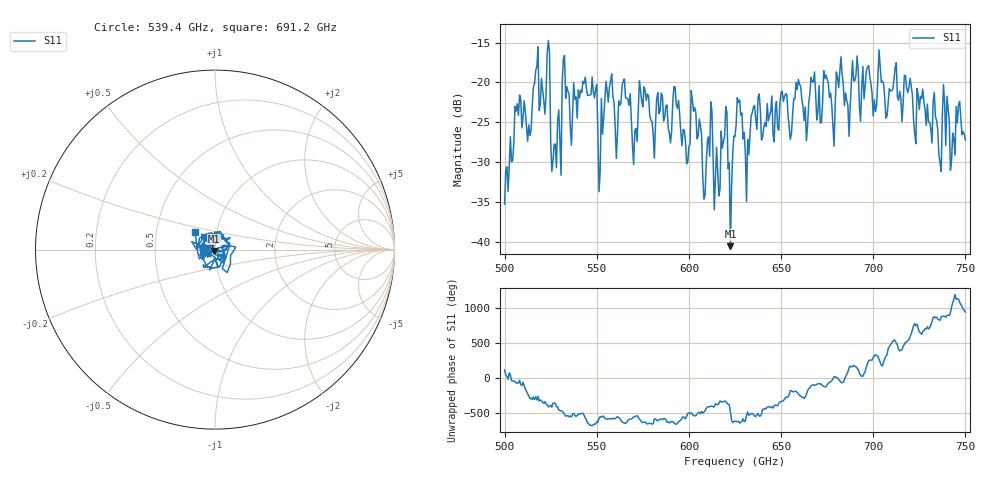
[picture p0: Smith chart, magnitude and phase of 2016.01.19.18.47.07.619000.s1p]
!Created with skrf (http://scikit-rf.org).
# GHz S RI R 50.0
!freq ReS11 ImS11
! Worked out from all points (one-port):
!   401 points, 500 GHz to 750 GHz, reference 50 ohm
!   lowest |S11| = -40.5 dB at 622.5 GHz (marker M1), VSWR 1.02, Z = 49.5 - j0.757 ohm
!   |S11| at or under -10 dB: start of sweep to end of sweep
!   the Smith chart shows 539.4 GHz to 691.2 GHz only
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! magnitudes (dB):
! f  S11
! 500 GHz  -35.3
! 506.9 GHz  -22.7
! 513.1 GHz  -25.3
! 516.9 GHz  -18.5
! 523.8 GHz  -14.7
! 526.9 GHz  -27.8
! 531.2 GHz  -20.0
! 548.8 GHz  -21.9
! 551.9 GHz  -31.0
! 556.2 GHz  -22.5
! 562.5 GHz  -22.9
! 570.6 GHz  -26.1
! 574.4 GHz  -22.4
! 580.6 GHz  -26.5
! 593.8 GHz  -23.2
! 599.4 GHz  -30.0
! 602.5 GHz  -23.6
! 608.8 GHz  -34.2
! 611.2 GHz  -29.3
! 619.4 GHz  -26.7
! 622.5 GHz  -40.5
! 625 GHz  -26.8
! 656.2 GHz  -24.1
! 687.5 GHz  -23.0
! 718.8 GHz  -21.3
! 735.6 GHz  -29.1
! 739.4 GHz  -27.9
! 750 GHz  -27.2
